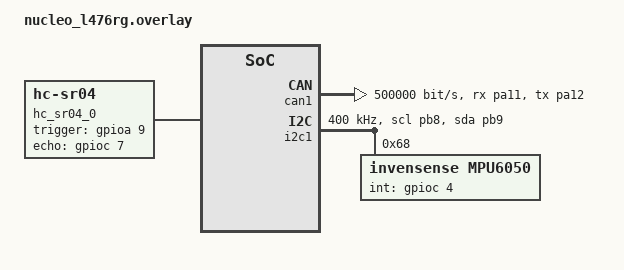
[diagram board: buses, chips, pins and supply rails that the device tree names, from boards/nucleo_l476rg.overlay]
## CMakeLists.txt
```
cmake_minimum_required(VERSION 3.20.0)

find_package(Zephyr REQUIRED HINTS $ENV{ZEPHYR_BASE})
project(CAR-STM)


add_subdirectory(src)
add_subdirectory(inc)
```

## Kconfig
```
# Main application configuration menu
menu "CAR STM "
        config SENSOR_MGR_STACK_SIZE
            int "Stack size for sensors thread"
            default 1536
            help
              Size of the stack used by the sensor acquisition thread.

        config SENSOR_MGR_PRIORITY
            int "Priority for sensors thread"
            default 3
            help
              RTOS priority for the sensor acquisition thread.
        config SENSOR_POLL_INTERVAL_MS
            int "Sensor polling interval in ms"
            default 1000
        config DEFAULT_TEMP
            int "Default temperature value"
            default 100
    endmenu

# This must remain at the bottom to pull in all standard Zephyr options
source "Kconfig.zephyr"
```

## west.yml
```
manifest:
  remotes:
    - name: zephyrproject-rtos
      url-base: https://github.com/zephyrproject-rtos

  projects:
    - name: zephyr
      remote: zephyrproject-rtos
      revision: v4.4.0
      path: zephyr
      import:
        name-allowlist:
          - cmsis        
          - cmsis_6
          - hal_stm32    
          - mbedtls      
          - zcbor        
          - mcuboot      
          - segger
```

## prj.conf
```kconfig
CONFIG_I2C=y
CONFIG_I2C_STM32_V2_TIMING=y
CONFIG_MPU6050_TRIGGER_NONE=y
CONFIG_SENSOR=y
CONFIG_FPU=y
CONFIG_CBPRINTF_FP_SUPPORT=y
CONFIG_LOG=y
CONFIG_CAN=y
```

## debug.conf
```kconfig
CONFIG_DEBUG=y
CONFIG_DEBUG_OPTIMIZATIONS=y
CONFIG_DEBUG_COREDUMP=y
CONFIG_ASSERT=y
CONFIG_ASSERT_LEVEL=2
CONFIG_DEBUG_THREAD_INFO=y
CONFIG_THREAD_MONITOR=y
CONFIG_THREAD_NAME=y
CONFIG_THREAD_STACK_INFO=y
CONFIG_THREAD_RUNTIME_STATS=y
CONFIG_SCHED_THREAD_USAGE=y
CONFIG_USE_SEGGER_RTT=y
CONFIG_RTT_CONSOLE=y
CONFIG_LOG_BACKEND_RTT=y
CONFIG_LOG_BACKEND_UART=n
CONFIG_SEGGER_RTT_SECTION_NONE=y
CONFIG_CONSOLE=y
CONFIG_STDOUT_CONSOLE=n
CONFIG_UART_CONSOLE=n
CONFIG_LOG_DEFAULT_LEVEL=3
CONFIG_LOG_MODE_IMMEDIATE=y
CONFIG_ZBUS_LOG_LEVEL_INF=y
CONFIG_PWM_LOG_LEVEL_ERR=y
CONFIG_HW_STACK_PROTECTION=y
CONFIG_EXTRA_EXCEPTION_INFO=y
```

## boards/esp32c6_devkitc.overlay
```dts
#include <zephyr/dt-bindings/pinctrl/esp32c6-pinctrl.h>
#include <zephyr/dt-bindings/i2c/i2c.h>

/ {
    chosen {
        /* W nowym Zephyrze zaleca się stosowanie 'zephyr,canbus' zamiast 'zephyr,can-primary' */
        zephyr,canbus = &twai0;
    };
};

/* KROK 1: Definicja własnej konfiguracji pinów (możesz zmienić numery GPIO na własne) */
&pinctrl {
    twai0_default: twai0_default {
        group1 {
            /* Wybieramy np. GPIO 20 jako TX i GPIO 21 jako RX */
            pinmux = <TWAI0_TX_GPIO4>,
                     <TWAI0_RX_GPIO5>;
        };
    };

    i2c0_default: i2c0_default {
        group1 {
            /* Wybieramy np. GPIO 6 jako SDA i GPIO 7 jako SCL */
            pinmux = <I2C0_SDA_GPIO12>,
                     <I2C0_SCL_GPIO13>;
            bias-pull-up; /* Włączenie wewnętrznego pull-up (wymagane dla I2C) */
        };
    };
};

/* KROK 2: Aktywacja i konfiguracja kontrolera TWAI (CAN) */
&twai0 {
    status = "okay";
    bitrate = <500000>; /* Prędkość magistrali: 500 kbps */
    pinctrl-0 = <&twai0_default>;
    pinctrl-names = "default";
};

/* KROK 3: Aktywacja i konfiguracja kontrolera I2C wraz z czujnikiem */
&i2c0 {
    status = "okay";
    clock-frequency = <I2C_BITRATE_FAST>; /* Wymaga nagłówka i2c.h na początku */
    pinctrl-0 = <&i2c0_default>;
    pinctrl-names = "default";

    mpu6050: mpu6050@68 {
        compatible = "invensense,mpu6050";
        reg = <0x68>;
        status = "okay";
        /* Przykładowo pin przerwaniowy PC4 zmieniamy na GPIO 4 w jedynym banku gpio0 */
        int-gpios = <&gpio0 4 GPIO_ACTIVE_HIGH>; 
        smplrt-div = <249>;
    };
};
```

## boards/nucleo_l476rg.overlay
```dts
    / {
        chosen {
            zephyr,can-primary = &can1;
        };
        hc_sr04_0: hc-sr04 {
        compatible = "hc-sr04";
        /* PA9 odpowiada pinowi D8 na złączu Arduino */
        trigger-gpios = <&gpioa 9 GPIO_ACTIVE_HIGH>;
        /* PC7 odpowiada pinowi D9 na złączu Arduino */
        echo-gpios = <&gpioc 7 GPIO_ACTIVE_HIGH>;
        status = "okay";
        };
    };

    &can1 {
        status = "okay";
        bus-speed = <500000>;
        pinctrl-0 = <&can1_rx_pa11 &can1_tx_pa12>;
        pinctrl-names = "default";
    };

    &i2c1 {
        pinctrl-0 = <&i2c1_scl_pb8 &i2c1_sda_pb9>;
        pinctrl-names = "default";
        status = "okay";
        clock-frequency = <I2C_BITRATE_FAST>;
        mpu6050: mpu6050@68 {
            compatible = "invensense,mpu6050";
            reg = <0x68>;
            status = "okay";
            int-gpios = <&gpioc 4 GPIO_ACTIVE_HIGH>;
            smplrt-div = <249>;
        };


    };
```

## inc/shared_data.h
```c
#ifndef SHARED_DATA_H
#define SHARED_DATA_H

#include <zephyr/kernel.h>

struct sensor_data_msg {
  float temp;
  float accel[3];
  float gyro[3];
};

struct distance_data_msg {
  float distance; 
};
  
extern struct k_msgq sensor_msgq;
extern struct k_msgq distance_msgq;

#endif /* SHARED_DATA_H */
```

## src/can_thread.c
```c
#include <zephyr/device.h>
#include <zephyr/drivers/can.h>
#include <zephyr/kernel.h>
#include <zephyr/logging/log.h>

#include "shared_data.h"

LOG_MODULE_REGISTER(can_thread, LOG_LEVEL_INF);

const struct device *const can_dev = DEVICE_DT_GET(DT_CHOSEN(zephyr_can_primary));
CAN_MSGQ_DEFINE(can_rx_msgq, 10);

void can_thread_entry(void) {
  if(!device_is_ready(can_dev)) {
    LOG_ERR("Kontroler CAN niegotowy!");
    return;
  }

  int start_err = can_start(can_dev);
  if(start_err != 0) {
    LOG_ERR("Blad podczas startu kontrolera CAN: %d", start_err);
    return;
  }

  const struct can_filter esp_reply_filter = {.id = 0x321, .mask = CAN_STD_ID_MASK, .flags = 0};
  const struct can_filter esp_heartbeat_filter = {.id = 0x7FF, .mask = CAN_STD_ID_MASK, .flags = 0};

  can_add_rx_filter_msgq(can_dev, &can_rx_msgq, &esp_reply_filter);
  can_add_rx_filter_msgq(can_dev, &can_rx_msgq, &esp_heartbeat_filter);

  LOG_INF("STM32 CAN: Gotowy do dzialania.");


  struct can_frame tx_frame = {.id = 0x123,.dlc = 0, .flags = 0};
  struct can_frame tx_frame_dist = {.id = 0x124, .dlc = 2, .flags = 0};

  while(1) {
    struct sensor_data_msg sensor_data;
    if(k_msgq_get(&sensor_msgq, &sensor_data, K_NO_WAIT) == 0) {
      LOG_INF("accel: %f, %f, %f | gyro: %f, %f, %f | temp: %f", (double)sensor_data.accel[0], (double)sensor_data.accel[1],
              (double)sensor_data.accel[2], (double)sensor_data.gyro[0], (double)sensor_data.gyro[1], (double)sensor_data.gyro[2],
              (double)sensor_data.temp);
      int16_t temp_scaled = (int16_t)(sensor_data.temp * 100.0f);
      int16_t accel_x_scaled = (int16_t)(sensor_data.accel[0] * 100.0f);
      tx_frame.dlc = 4;                                
      tx_frame.data[0] = (temp_scaled >> 8) & 0xFF;    
      tx_frame.data[1] = temp_scaled & 0xFF;          
      tx_frame.data[2] = (accel_x_scaled >> 8) & 0xFF;
      tx_frame.data[3] = accel_x_scaled & 0xFF;
      int err = can_send(can_dev, &tx_frame, K_MSEC(10), NULL, NULL);
      if(err == 0) {
        LOG_INF(">>> Wysłano odczyty MPU6050 (CAN_ID: 0x123)");
      } else {
        LOG_ERR(">>> Blad wysylania na szynę CAN (kod: %d)", err);
      }
    }
    struct distance_data_msg dist_data;
    if(k_msgq_get(&distance_msgq, &dist_data, K_NO_WAIT) == 0) {
      LOG_INF("Dystans: %f m", (double)dist_data.distance);
      
      /* Konwersja metrów na centymetry do wysłania po CAN (zaokrąglone do int16_t) */
      uint16_t dist_cm = (uint16_t)(dist_data.distance * 100.0f);
      
      tx_frame_dist.data[0] = (dist_cm >> 8) & 0xFF;
      tx_frame_dist.data[1] = dist_cm & 0xFF;
      
      int err = can_send(can_dev, &tx_frame_dist, K_MSEC(10), NULL, NULL);
      if(err == 0) {
        LOG_INF(">>> Wysłano odczyty HC-SR04 (CAN_ID: 0x124)");
      } else {
        LOG_ERR(">>> Blad wysylania HC-SR04 na szynę CAN (kod: %d)", err);
      }
    }
    k_msleep(10);
  }
}

K_THREAD_DEFINE(can_thread_id, 2048, can_thread_entry, NULL, NULL, NULL, 7, 0, 0);
```

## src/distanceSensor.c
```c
#include <stdio.h>
#include <zephyr/device.h>
#include <zephyr/drivers/sensor.h>
#include <zephyr/kernel.h>
#include <zephyr/logging/log.h>

#include "shared_data.h"

/*
 * UWAGA: Zaktualizuj swój plik "shared_data.h", dodając do niego
 * poniższą strukturę dla danych z czujnika odległości:
 *
 * struct hcsr04_data_msg {
 *     double distance_m;
 * };
 */

LOG_MODULE_REGISTER(hcsr04_sensor, LOG_LEVEL_INF);

/* Definicja kolejki wiadomości dla czujnika HC-SR04 */
K_MSGQ_DEFINE(hcsr04_msgq, sizeof(struct hcsr04_data_msg), 5, 4);

static int process_hcsr04(const struct device *dev) {
  struct sensor_value distance;

  /* Pobranie próbki z czujnika */
  int rc = sensor_sample_fetch(dev);
  if(rc < 0) {
    LOG_ERR("Błąd pobierania danych (kod: %d). Sprawdź przewody!", rc);
    return rc;
  }

  /* Odczytanie wyliczonej odległości do struktury sensor_value */
  sensor_channel_get(dev, SENSOR_CHAN_DISTANCE, &distance);

  /* Przygotowanie wiadomości do wysłania w kolejce */
  struct hcsr04_data_msg msg;
  msg.distance_m = sensor_value_to_double(&distance);

  /* Logowanie informacyjne - wyświetla to co czujnik odczytał */
  LOG_INF("Odległość: %.3f m", msg.distance_m);

  /* Wysłanie danych do kolejki (bez blokowania) */
  k_msgq_put(&hcsr04_msgq, &msg, K_NO_WAIT);

  return 0;
}

static void hcsr04_thread_entry(void *p1, void *p2, void *p3) {
  /* Pobranie wskaźnika na urządzenie na podstawie "compatible" z Devicetree.
     Działa analogicznie do DEVICE_DT_GET_ONE z Twojego kodu. */
  //   const struct device *const hcsr04 = DEVICE_DT_GET(DT_NODELABEL(hc_sr04_0));

  //   if(!device_is_ready(hcsr04)) {
  //     LOG_ERR("Urzadzenie %s nie jest gotowe do pracy!", hcsr04 ? hcsr04->name : "NULL");
  //     return;
  //   }
  // const struct device *const hcsr04 = DEVICE_DT_GET(DT_NODELABEL(hc_sr04_0));
  //   LOG_INF("Rozpoczynam odpytywanie czujnika HC-SR04 (Tryb Polling)...");

  while(1) {
    // process_hcsr04(hcsr04);
    k_msleep(500); /* Próbkowanie co 500 ms */
  }
}

/* Utworzenie osobnego wątku dla czujnika odległości */
K_THREAD_DEFINE(hcsr04_thread_id, 2048, hcsr04_thread_entry, NULL, NULL, NULL, 3, 0, 0);
```

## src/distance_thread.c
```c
#include <stdio.h>
#include <zephyr/device.h>
#include <zephyr/drivers/sensor.h>
#include <zephyr/kernel.h>
#include <zephyr/logging/log.h>

#include "shared_data.h"

LOG_MODULE_REGISTER(hc_sr04, LOG_LEVEL_INF);

/* Definicja nowej kolejki wiadomości dla czujnika odległości */
K_MSGQ_DEFINE(distance_msgq, sizeof(struct distance_data_msg), 5, 4);

static int process_hc_sr04(const struct device *dev) {
    struct sensor_value dist_val;

    int rc = sensor_sample_fetch(dev);
    if(rc < 0) {
        LOG_ERR("Błąd pobierania danych HC-SR04 (kod: %d).", rc);
        return rc;
    }

    sensor_channel_get(dev, SENSOR_CHAN_DISTANCE, &dist_val);

    struct distance_data_msg msg;
    /* sensor_value_to_double konwertuje wartość na metry */
    msg.distance = sensor_value_to_double(&dist_val);

    k_msgq_put(&distance_msgq, &msg, K_NO_WAIT);

    return 0;
}

static void hc_sr04_thread_entry(void *p1, void *p2, void *p3) {
    /* Pobieramy urządzenie za pomocą jego etykiety z Device Tree (hc_sr04_0) */
    const struct device *const hc_sr04_dev = DEVICE_DT_GET(DT_NODELABEL(hc_sr04_0));

    if(!device_is_ready(hc_sr04_dev)) {
        LOG_ERR("Urzadzenie %s nie jest gotowe do pracy! Sprawdź binding w Device Tree.", 
                hc_sr04_dev ? hc_sr04_dev->name : "NULL");
        return;
    }

    LOG_INF("Rozpoczynam odpytywanie czujnika HC-SR04...");

    while(1) {
        process_hc_sr04(hc_sr04_dev);
        /* Odpytujemy rzadziej niż MPU, np. co 200 ms */
        k_msleep(200); 
    }
}

/* Uruchamiamy wątek z priorytetem 4 */
K_THREAD_DEFINE(hc_sr04_thread_id, 1024, hc_sr04_thread_entry, NULL, NULL, NULL, 4, 0, 0);
```

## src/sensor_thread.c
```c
#include <stdio.h>
#include <zephyr/device.h>
#include <zephyr/drivers/sensor.h>
#include <zephyr/kernel.h>
#include <zephyr/logging/log.h>


#include "shared_data.h"

LOG_MODULE_REGISTER(sensor, LOG_LEVEL_INF);


K_MSGQ_DEFINE(sensor_msgq, sizeof(struct sensor_data_msg), 5, 4);



static int process_mpu6050(const struct device *dev) {
    struct sensor_value temperature;
    struct sensor_value accel[3];
    struct sensor_value gyro[3];

    int rc = sensor_sample_fetch(dev);
    if(rc < 0) {
        LOG_ERR("Błąd pobierania danych (kod: %d). Sprawdź przewody!", rc);
        return rc;
    }

    sensor_channel_get(dev, SENSOR_CHAN_ACCEL_XYZ, accel);
    sensor_channel_get(dev, SENSOR_CHAN_GYRO_XYZ, gyro);
    sensor_channel_get(dev, SENSOR_CHAN_DIE_TEMP, &temperature);

    struct sensor_data_msg msg;
    msg.temp = sensor_value_to_double(&temperature);
    for (int i = 0; i < 3; i++) {
        msg.accel[i] = sensor_value_to_double(&accel[i]);
        msg.gyro[i] = sensor_value_to_double(&gyro[i]);
    }

    k_msgq_put(&sensor_msgq, &msg, K_NO_WAIT);



    return 0;
}

static void sensor_thread_entry(void *p1, void *p2, void *p3) {
    const struct device *const mpu6050 = DEVICE_DT_GET_ONE(invensense_mpu6050);

    if(!device_is_ready(mpu6050)) {
        LOG_ERR("Urzadzenie %s nie jest gotowe do pracy!", mpu6050 ? mpu6050->name : "NULL");
        return;
    }

    LOG_INF("Rozpoczynam odpytywanie czujnika MPU6050 (Tryb Polling)...");

    while(1) {
        process_mpu6050(mpu6050);
        k_msleep(500);
    }
}

K_THREAD_DEFINE(sensor_thread_id, 2048, sensor_thread_entry, NULL, NULL, NULL, 3, 0, 0);
```
